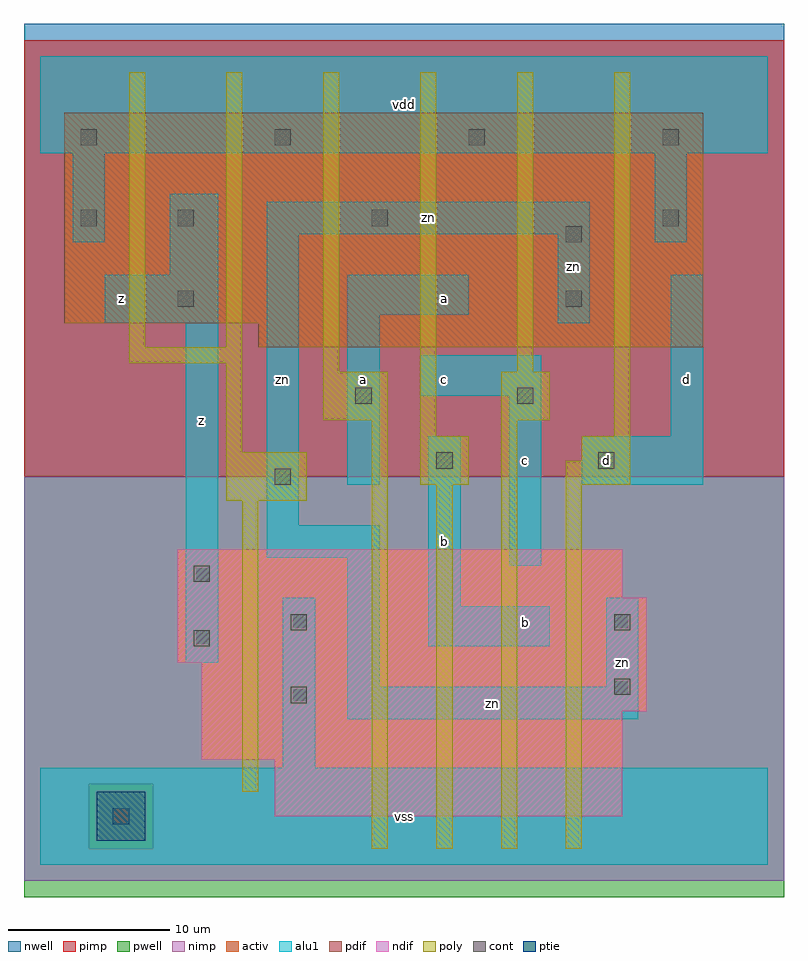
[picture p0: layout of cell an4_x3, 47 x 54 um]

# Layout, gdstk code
import gdstk
lib = gdstk.Library(unit=1e-6, precision=1e-09)
def R(c, l, rs):  # rectangles x0, y0, x1, y1
    for r in rs: c.add(gdstk.rectangle(r[:2], r[2:], *l))
def A(c, l, x, y, w, h, nx, ny, dx, dy):  # array of equal rectangles
    R(c, l, [(x+i*dx, y+j*dy, x+i*dx+w, y+j*dy+h) for i in range(nx) for j in range(ny)])
ndif = (3, 0)
pdif = (4, 0)
ptie = (6, 0)
cont = (25, 0)
pwell = (41, 0)
nwell = (42, 0)
activ = (43, 0)
pimp = (44, 0)
nimp = (45, 0)
poly = (46, 0)
alu1 = (49, 0)

an4_x3 = lib.new_cell('an4_x3')
R(an4_x3, ndif, [(14.5,3,36,6.5), (10,6.5,36,9.5), (10,9.5,37.5,12.5), (8.5,12.5,37.5,16.5), (8.5,16.5,36,19.5)])
R(an4_x3, pdif, [(13.5,32,41,33.5), (1.5,33.5,41,46.5)])
R(an4_x3, ptie, [(3.5,1.5,6.5,4.5)])
A(an4_x3, cont, 2.5, 44.5, 1, 1, 4, 1, 12, 0)
R(an4_x3, cont, [(4.5,2.5,5.5,3.5), (15.5,10,16.5,11), (35.5,10.5,36.5,11.5), (9.5,13.5,10.5,14.5), (15.5,14.5,16.5,15.5), (35.5,14.5,36.5,15.5), (9.5,17.5,10.5,18.5), (14.5,23.5,15.5,24.5), (24.5,24.5,25.5,25.5), (34.5,24.5,35.5,25.5), (19.5,28.5,20.5,29.5), (29.5,28.5,30.5,29.5), (8.5,34.5,9.5,35.5), (32.5,34.5,33.5,35.5), (32.5,38.5,33.5,39.5), (2.5,39.5,3.5,40.5), (8.5,39.5,9.5,40.5), (20.5,39.5,21.5,40.5), (38.5,39.5,39.5,40.5)])
R(an4_x3, pwell, [(-1,-2,46,24)])
R(an4_x3, nwell, [(-1,24,46,52)])
R(an4_x3, activ, [(3.5,1.5,6.5,4.5), (14.5,3,36,6.5), (10,6.5,36,9.5), (10,9.5,37.5,12.5), (8.5,12.5,37.5,16.5), (8.5,16.5,36,19.5), (13.5,32,41,33.5), (1.5,33.5,41,46.5)])
R(an4_x3, pimp, [(3,1,7,5), (-1,24,46,51)])
R(an4_x3, nimp, [(-1,-1,46,1), (-1,1,3,5), (7,1,46,5), (-1,5,46,24)])
R(an4_x3, poly, [(20.5,1,21.5,27.5), (24.5,1,25.5,23.5), (28.5,1,29.5,27.5), (32.5,1,33.5,23.5), (12.5,4.5,13.5,22.5), (11.5,22.5,16.5,25.5), (23.5,23.5,26.5,26.5), (32.5,23.5,36.5,25), (33.5,25,36.5,26.5), (11.5,25.5,12.5,31), (23.5,26.5,24.5,49), (35.5,26.5,36.5,49), (17.5,27.5,21.5,30.5), (28.5,27.5,31.5,30.5), (17.5,30.5,18.5,49), (29.5,30.5,30.5,49), (5.5,31,12.5,32), (5.5,32,6.5,49), (11.5,32,12.5,49)])
R(an4_x3, alu1, [(0,0,45,6), (15,6,17,16.5), (19,9,37,11), (19,11,21,19), (35,11,37,16.5), (9,12.5,11,33.5), (24,13.5,31.5,16), (24,16,26,26.5), (29,18.5,31,29), (14,19,21,21), (14,21,16,39), (19,23.5,21,34), (33.5,23.5,41,26.5), (39,26.5,41,36.5), (23.5,29,31,31.5), (4,33.5,11,36.5), (32,33.5,34,39), (19,34,26.5,36.5), (8,36.5,11,41.5), (2,38.5,4,44), (38,38.5,40,44), (14,39,34,41), (0,44,45,50)])
an4_x3.add(gdstk.Label('z', (5,35), layer=49, texttype=0))
an4_x3.add(gdstk.Label('z', (10,27.5), layer=49, texttype=0))
an4_x3.add(gdstk.Label('zn', (15,30), layer=49, texttype=0))
an4_x3.add(gdstk.Label('vss', (22.5,3), layer=49, texttype=0))
an4_x3.add(gdstk.Label('b', (25,20), layer=49, texttype=0))
an4_x3.add(gdstk.Label('a', (20,30), layer=49, texttype=0))
an4_x3.add(gdstk.Label('c', (25,30), layer=49, texttype=0))
an4_x3.add(gdstk.Label('a', (25,35), layer=49, texttype=0))
an4_x3.add(gdstk.Label('vdd', (22.5,47), layer=49, texttype=0))
an4_x3.add(gdstk.Label('b', (30,15), layer=49, texttype=0))
an4_x3.add(gdstk.Label('c', (30,25), layer=49, texttype=0))
an4_x3.add(gdstk.Label('d', (35,25), layer=49, texttype=0))
an4_x3.add(gdstk.Label('zn', (33,37), layer=49, texttype=0))
an4_x3.add(gdstk.Label('zn', (24,40), layer=49, texttype=0))
an4_x3.add(gdstk.Label('zn', (36,12.5), layer=49, texttype=0))
an4_x3.add(gdstk.Label('zn', (28,10), layer=49, texttype=0))
an4_x3.add(gdstk.Label('d', (40,30), layer=49, texttype=0))

lib.write_gds('an4_x3.gds')
